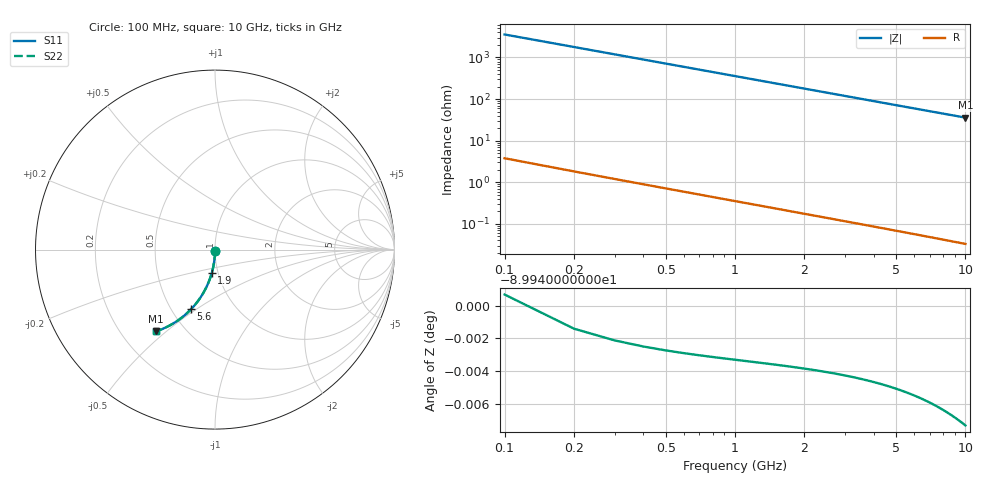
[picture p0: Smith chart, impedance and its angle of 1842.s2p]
# Hz S RI R 50.00
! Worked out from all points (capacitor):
!   100 points, 100 MHz to 10 GHz, reference 50 ohm
!   read as one part in shunt: C = 445 fF near 100 MHz
!   lowest |Z| = 35.9 ohm at 10 GHz (marker M1)
!   S11 on the Smith chart (normalised r, x): 100 MHz: 1.00, -0.01; 1.9 GHz: 0.94, -0.24; 5.6 GHz: 0.62, -0.48; 10 GHz: 0.34, -0.46
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1e8  5.69e-05 -0.00686  0.9998 -0.00713  0.9998 -0.00713  5.69e-05 -0.00686
2e8  -9.6e-05 -0.0137  0.9997 -0.0143  0.9997 -0.0143  -9.6e-05 -0.0137
3e8  -0.000347 -0.0206  0.9994 -0.0214  0.9994 -0.0214  -0.000347 -0.0206
4e8  -0.000695 -0.0274  0.9991 -0.0285  0.9991 -0.0285  -0.000695 -0.0274
5e8  -0.00114 -0.0343  0.9986 -0.0356  0.9986 -0.0356  -0.00114 -0.0343
6e8  -0.00168 -0.0411  0.9981 -0.0427  0.9981 -0.0427  -0.00168 -0.0411
7e8  -0.00232 -0.0479  0.9974 -0.0498  0.9974 -0.0498  -0.00232 -0.0479
8e8  -0.00306 -0.0547  0.9967 -0.0569  0.9967 -0.0569  -0.00306 -0.0547
9e8  -0.00389 -0.0615  0.9959 -0.064  0.9959 -0.064  -0.00389 -0.0615
1.1e9  -0.00585 -0.075  0.9939 -0.078  0.9939 -0.078  -0.00585 -0.075
1.4e9  -0.00948 -0.0951  0.9903 -0.0989  0.9903 -0.0989  -0.00948 -0.0951
1.8e9  -0.0156 -0.1215  0.9841 -0.1264  0.9841 -0.1264  -0.0156 -0.1215
1.9e9  -0.0174 -0.128  0.9824 -0.1332  0.9824 -0.1332  -0.0174 -0.128
2.2e9  -0.0232 -0.1473  0.9766 -0.1534  0.9766 -0.1534  -0.0232 -0.1473
2.6e9  -0.0321 -0.1725  0.9676 -0.1797  0.9676 -0.1797  -0.0321 -0.1725
3.4e9  -0.0537 -0.2205  0.946 -0.2299  0.946 -0.2299  -0.0537 -0.2205
4.2e9  -0.0797 -0.2648  0.92 -0.2764  0.92 -0.2764  -0.0797 -0.2648
5.1e9  -0.1133 -0.3097  0.8863 -0.3237  0.8863 -0.3237  -0.1133 -0.3097
5.6e9  -0.1336 -0.3322  0.866 -0.3476  0.866 -0.3476  -0.1336 -0.3322
6.7e9  -0.181 -0.3754  0.8186 -0.3939  0.8186 -0.3939  -0.181 -0.3754
8.4e9  -0.2582 -0.4257  0.7413 -0.4489  0.7413 -0.4489  -0.2582 -0.4257
1e10  -0.3308 -0.4563  0.6685 -0.484  0.6685 -0.484  -0.3308 -0.4563
